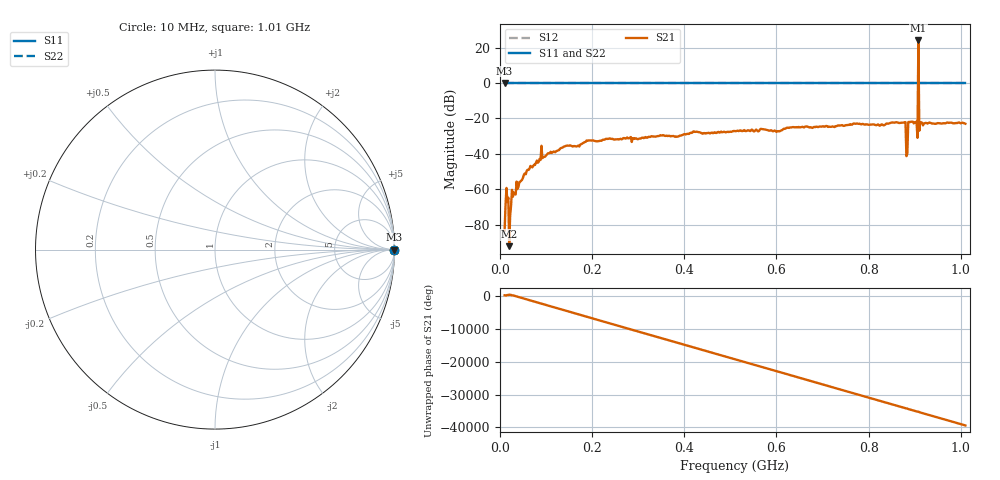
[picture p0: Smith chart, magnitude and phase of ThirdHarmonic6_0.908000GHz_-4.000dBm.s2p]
! 8/16/2025 5:43:48 AM
! C:\ANRITSUVNA\TEMP\TEMP.S2P
! CHANNEL.1
! TR.MEASUREMENT
! RAW.DATA
! RF.CORRECTION.OFF
! AVERAGING.OFF
! IF.BANDWIDTH: 5KHZ
! SWEEPTYPE:  FREQ.SWEEP(Linear)
! Reference Plane Port Info
! PORT:  PORT1  PORT2
! DISTANCE:  0  m  0  m
! TIME:  0  s  0  s
! PHASE.OFFSET:  0  deg.  0  deg.
! LOSS:  0  dB  0  dB
! REF.LOSS:  0  dB  0  dB
! REF.FREQ:  0  Hz  0  Hz
! Power Info
! POWER:  -20  dBm  -20  dBm
! EFF.POWER:  -20  dBm  -20  dBm
! SOURCE.ATTEN:  0  dB  0  dB
! TEST.ATTEN:  0  dB  0  dB
# GHZ S RI R 50.0
! FREQ.GHZ  S11RE  S11IM  S21RE  S21IM  S12RE  S12IM  S22RE  S22IM
!; PortSelection: Port_12
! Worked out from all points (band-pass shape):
!   501 points, 10 MHz to 1.01 GHz, reference 50 ohm
!   highest |S21| = 23.99 dB at 908 MHz (marker M1); lowest = -92.0 dB at 20 MHz (marker M2)
!   |S21| within 3 dB of the highest: 907.8908 MHz to 908.1179 MHz (227.1 kHz wide, 0.025 % of centre)
!   lowest |S11| = 0.0 dB at 10 MHz (marker M3)
!   |S11| at or under -10 dB: nowhere
!   |S22| runs from 0.0 to 0.0 dB; largest |S21 - S12| = 16
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0.01  1 0  -6.65e-05 1.75e-05  1 0  1 0
0.014  1 0  -0.000633 0.000899  1 0  1 0
0.02  1 0  1.85e-05 1.7e-05  1 0  1 0
0.024  1 0  0.000101 -0.000338  1 0  1 0
0.028  1 0  -0.000564 0.000268  1 0  1 0
0.04  1 0  0.000968 0.000665  1 0  1 0
0.09  1 0  -0.0163 0.00459  1 0  1 0
0.178  1 0  -0.0186 -0.0053  1 0  1 0
0.344  1 0  0.0315 -0.00439  1 0  1 0
0.51  1 0  -0.0429 0.011  1 0  1 0
0.678  1 0  -0.0143 -0.0523  1 0  1 0
0.844  1 0  0.0384 0.0612  1 0  1 0
0.876  1 0  -0.0688 -0.0341  1 0  1 0
0.88  1 0  0.0566 0.0547  1 0  1 0
0.886  1 0  -0.0746 0.0268  1 0  1 0
0.89  1 0  0.0793 -0.000974  1 0  1 0
0.902  1 0  -0.0471 -0.0641  1 0  1 0
0.904  1 0  -0.0719 0.0373  1 0  1 0
0.908  1 0  -1.214 15.79  1 0  1 0
0.912  1 0  -0.0767 -0.0132  1 0  1 0
0.914  1 0  -0.0255 0.0738  1 0  1 0
1.01  1 0  -0.0644 -0.0301  1 0  1 0
